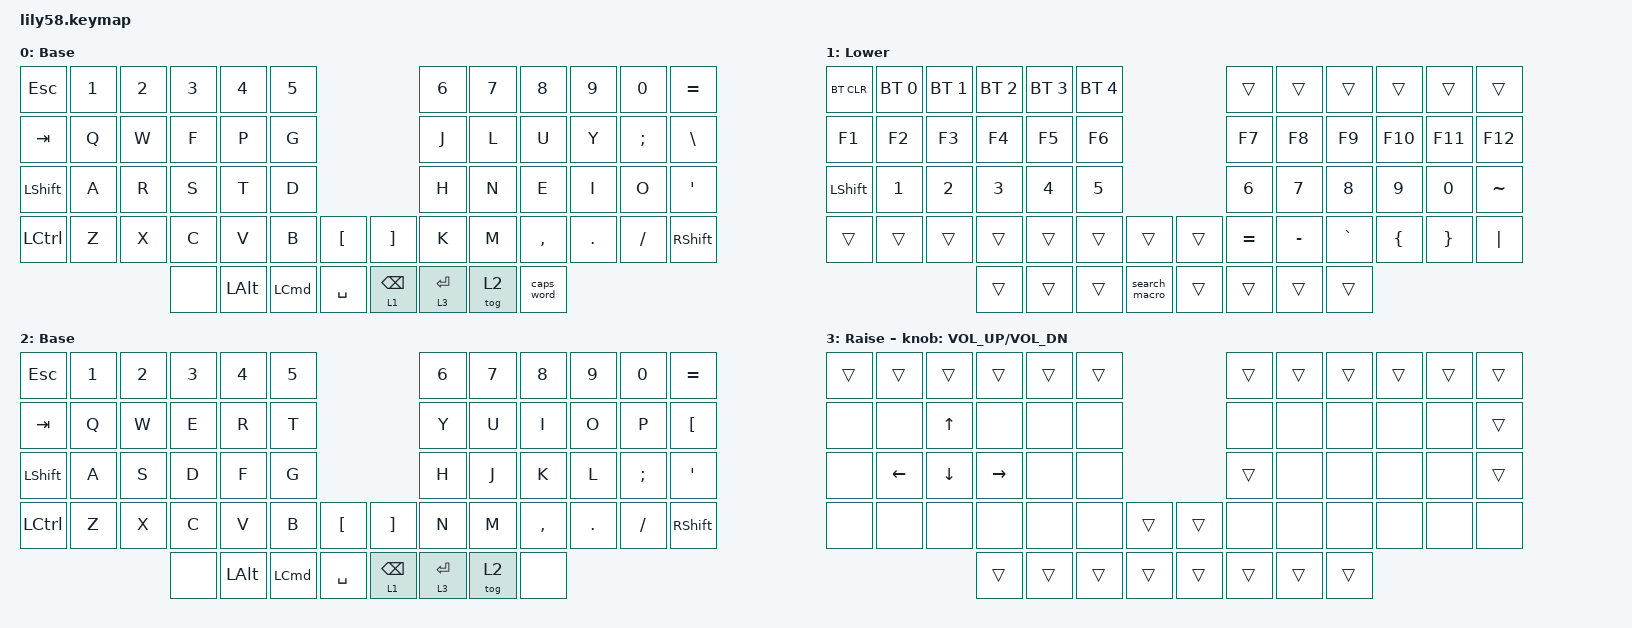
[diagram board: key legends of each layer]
/*
 * Copyright (c) 2020 The ZMK Contributors
 *
 * SPDX-License-Identifier: MIT
 */

#include <behaviors.dtsi>
#include <dt-bindings/zmk/bt.h>
#include <dt-bindings/zmk/keys.h>

/ {
    macros {
        search_macro: search_macro {
            compatible = "zmk,behavior-macro";
            #binding-cells = <0>;
            bindings = <&kt LEFT_COMMAND &kp SPACE &kt LEFT_COMMAND>;
            label = "SEARCH_MACRO";
        };
    };

    keymap {
        compatible = "zmk,keymap";

        default_layer {
            // ------------------------------------------------------------------------------------------------------------
            // |  ESC  |  1  |  2  |  3   |  4   |  5   |                   |  6   |  7    |  8    |  9   |   0   |   `   |
            // |  TAB  |  Q  |  W  |  E   |  R   |  T   |                   |  Y   |  U    |  I    |  O   |   P   |   -   |
            // |  CTRL |  A  |  S  |  D   |  F   |  G   |                   |  H   |  J    |  K    |  L   |   ;   |   '   |
            // | SHIFT |  Z  |  X  |  C   |  V   |  B   |   "["  |  |  "]"  |  N   |  M    |  ,    |  .   |   /   | SHIFT |
            //                     | ALT  | GUI  | LOWER|  SPACE |  | ENTER | RAISE| BSPC  | GUI   |

            display-name = "Base";
            bindings = <
&kp ESC           &kp N1  &kp N2  &kp N3  &kp N4        &kp N5                                          &kp N6       &kp N7  &kp N8      &kp N9   &kp N0         &kp EQUAL
&kp TAB           &kp Q   &kp W   &kp F   &kp P         &kp G                                           &kp J        &kp L   &kp U       &kp Y    &kp SEMICOLON  &kp BACKSLASH
&kp LEFT_SHIFT    &kp A   &kp R   &kp S   &kp T         &kp D                                           &kp H        &kp N   &kp E       &kp I    &kp O          &kp SQT
&kp LEFT_CONTROL  &kp Z   &kp X   &kp C   &kp V         &kp B             &kp LBKT     &kp RBKT         &kp K        &kp M   &kp COMMA   &kp DOT  &kp FSLH       &kp RSHFT
                                  &none   &kp LEFT_ALT  &kp LEFT_COMMAND  &kp SPACE    &lt 1 BACKSPACE  &lt 3 ENTER  &tog 2  &caps_word
            >;
        };

        lower_layer {
            // ------------------------------------------------------------------------------------------------------------
            // | BTCLR | BT1 | BT2 |  BT3 |  BT4 |  BT5 |                   |      |       |       |      |       |       |
            // |  F1   |  F2 |  F3 |  F4  |  F5  |  F6  |                   |  F7  |  F8   |  F9   |  F10 |  F11  |  F12  |
            // |   `   |  !  |  @  |  #   |  $   |  %   |                   |  ^   |  &    |  *    |  (   |   )   |   ~   |
            // |       |     |     |      |      |      |        |  |       |      |  _    |  +    |  {   |   }   |  "|"  |
            //                     |      |      |      |        |  |       |      |       |       |

            display-name = "Lower";
            bindings = <
&bt BT_CLR      &bt BT_SEL 0  &bt BT_SEL 1  &bt BT_SEL 2  &bt BT_SEL 3  &bt BT_SEL 4                           &trans        &trans     &trans     &trans    &trans    &trans
&kp F1          &kp F2        &kp F3        &kp F4        &kp F5        &kp F6                                 &kp F7        &kp F8     &kp F9     &kp F10   &kp F11   &kp F12
&kp LEFT_SHIFT  &kp NUMBER_1  &kp NUMBER_2  &kp NUMBER_3  &kp NUMBER_4  &kp N5                                 &kp NUMBER_6  &kp N7     &kp N8     &kp N9    &kp N0    &kp TILDE
&trans          &trans        &trans        &trans        &trans        &trans        &trans           &trans  &kp EQUAL     &kp MINUS  &kp GRAVE  &kp LBRC  &kp RBRC  &kp PIPE
                                            &trans        &trans        &trans        &search_macro    &trans  &trans        &trans     &trans
            >;
        };

        layer_6 {
            display-name = "Base";
            bindings = <
&kp ESC           &kp N1  &kp N2  &kp N3  &kp N4        &kp N5                                          &kp N6       &kp N7  &kp N8     &kp N9   &kp N0         &kp EQUAL
&kp TAB           &kp Q   &kp W   &kp E   &kp R         &kp T                                           &kp Y        &kp U   &kp I      &kp O    &kp P          &kp LEFT_BRACKET
&kp LEFT_SHIFT    &kp A   &kp S   &kp D   &kp F         &kp G                                           &kp H        &kp J   &kp K      &kp L    &kp SEMICOLON  &kp SQT
&kp LEFT_CONTROL  &kp Z   &kp X   &kp C   &kp V         &kp B             &kp LBKT     &kp RBKT         &kp N        &kp M   &kp COMMA  &kp DOT  &kp FSLH       &kp RSHFT
                                  &none   &kp LEFT_ALT  &kp LEFT_COMMAND  &kp SPACE    &lt 1 BACKSPACE  &lt 3 ENTER  &tog 2  &none
            >;
        };

        raise_layer {
            // ------------------------------------------------------------------------------------------------------------
            // |       |     |     |      |      |      |                   |      |       |       |      |       |       |
            // |   `   |  1  |  2  |  3   |  4   |  5   |                   |  6   |   7   |   8   |  9   |   0   |       |
            // |   F1  |  F2 |  F3 |  F4  |  F5  |  F6  |                   |      |   <-  |   v   |  ^   |  ->   |       |
            // |   F7  |  F8 |  F9 |  F10 |  F11 |  F12 |        |  |       |  +   |   -   |   =   |  [   |   ]   |   \   |
            //                     |      |      |      |        |  |       |      |       |       |

            display-name = "Raise";
            bindings = <
&trans  &trans    &trans    &trans     &trans  &trans                    &trans  &trans  &trans  &trans  &trans  &trans
&none   &none     &kp UP    &none      &none   &none                     &none   &none   &none   &none   &none   &trans
&none   &kp LEFT  &kp DOWN  &kp RIGHT  &none   &none                     &trans  &none   &none   &none   &none   &trans
&none   &none     &none     &none      &none   &none   &trans    &trans  &none   &none   &none   &none   &none   &none
                            &trans     &trans  &trans  &trans    &trans  &trans  &trans  &trans
            >;

            sensor-bindings = <&inc_dec_kp C_VOL_UP C_VOL_DN>;
        };
    };
};
